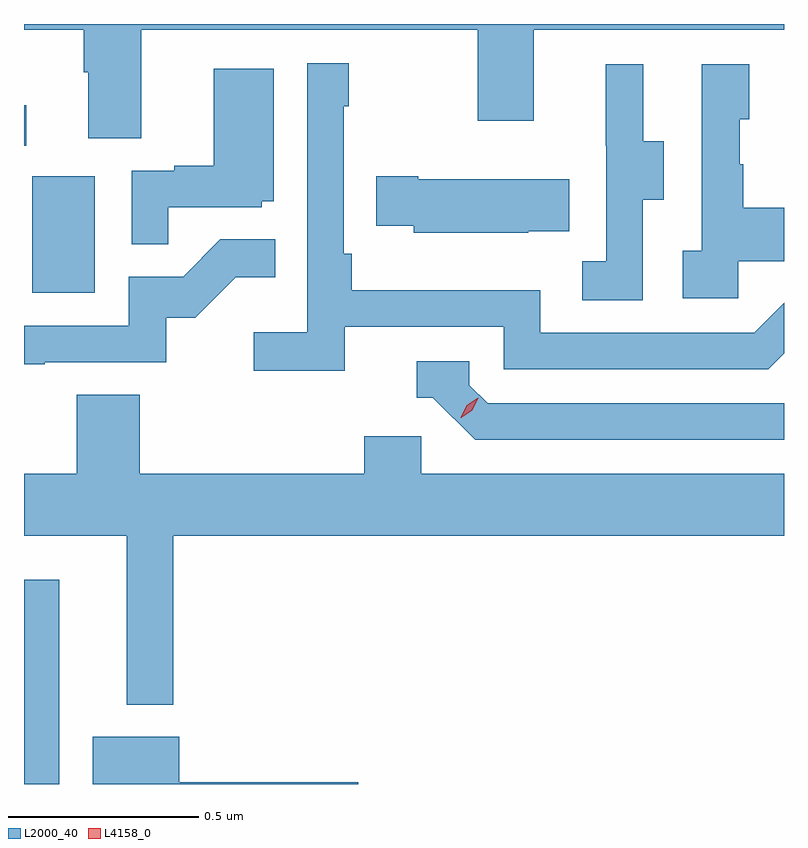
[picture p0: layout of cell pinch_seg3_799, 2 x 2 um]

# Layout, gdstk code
import gdstk
lib = gdstk.Library(unit=1e-6, precision=1e-09)
def R(c, l, rs):  # rectangles x0, y0, x1, y1
    for r in rs: c.add(gdstk.rectangle(r[:2], r[2:], *l))
def P(c, l, *ps):  # polygons
    for p in ps: c.add(gdstk.Polygon(p, *l))
L2000_40 = (2000, 40)
L4158_0 = (4158, 0)

pinch_seg3_799 = lib.new_cell('pinch_seg3_799')
R(pinch_seg3_799, L2000_40, [(814.648,716.247,814.741,716.785), (814.67,717.54,814.834,717.847), (814.648,717.927,814.654,718.033)])
P(pinch_seg3_799, L2000_40, [(814.957,718.232),(815.842,718.232),(815.842,717.993),(815.989,717.993),(815.989,718.232),(816.648,718.232),(816.648,718.247),(814.648,718.247),(814.648,718.232),(814.805,718.232),(814.805,718.12),(814.817,718.12),(814.817,717.946),(814.957,717.946)],
  [(815.492,717.45),(815.91,717.45),(815.91,717.339),(816.607,717.339),(816.648,717.38),(816.648,717.513),(816.57,717.435),(816.006,717.435),(816.006,717.547),(815.51,717.547),(815.51,717.643),(815.49,717.643),(815.49,718.031),(815.503,718.031),(815.503,718.144),(815.394,718.144),(815.394,717.436),(815.253,717.436),(815.253,717.334),(815.492,717.334)],
  [(816.528,717.623),(816.648,717.623),(816.648,717.763),(816.541,717.763),(816.541,717.878),(816.531,717.878),(816.531,717.996),(816.556,717.996),(816.556,718.141),(816.432,718.141),(816.432,717.65),(816.381,717.65),(816.381,717.525),(816.528,717.525)],
  [(816.276,717.784),(816.331,717.784),(816.331,717.939),(816.277,717.939),(816.277,718.141),(816.179,718.141),(816.179,717.927),(816.18,717.927),(816.18,717.623),(816.117,717.623),(816.117,717.52),(816.276,717.52)],
  [(815.027,717.765),(815.274,717.765),(815.274,717.78),(815.305,717.78),(815.305,718.129),(815.147,718.129),(815.147,717.874),(815.043,717.874),(815.043,717.861),(814.932,717.861),(814.932,717.667),(815.027,717.667)],
  [(815.975,717.701),(816.083,717.701),(816.083,717.838),(815.686,717.838),(815.686,717.846),(815.575,717.846),(815.575,717.716),(815.673,717.716),(815.673,717.698),(815.975,717.698)],
  [(814.703,717.357),(815.022,717.357),(815.022,717.474),(815.098,717.474),(815.205,717.581),(815.309,717.581),(815.309,717.68),(815.165,717.68),(815.067,717.582),(814.923,717.582),(814.923,717.453),(814.648,717.453),(814.648,717.352),(814.703,717.352)],
  [(816.648,717.249),(815.868,717.249),(815.82,717.297),(815.82,717.36),(815.681,717.36),(815.681,717.264),(815.724,717.264),(815.835,717.153),(816.648,717.153)],
  [(814.787,717.064),(814.648,717.064),(814.648,716.9),(814.919,716.9),(814.919,716.456),(815.041,716.456),(815.041,716.9),(816.648,716.9),(816.648,717.064),(815.694,717.064),(815.694,717.162),(815.543,717.162),(815.543,717.064),(814.952,717.064),(814.952,717.272),(814.787,717.272)],
  [(815.527,716.252),(815.056,716.252),(815.056,716.371),(814.829,716.371),(814.829,716.247),(815.527,716.247)])
P(pinch_seg3_799, L4158_0, [(815.797,717.211),(815.797,717.211),(815.813,717.244),(815.843,717.263),(815.843,717.263),(815.843,717.263),(815.828,717.23),(815.798,717.211)])

lib.write_gds('pinch_seg3_799.gds')
